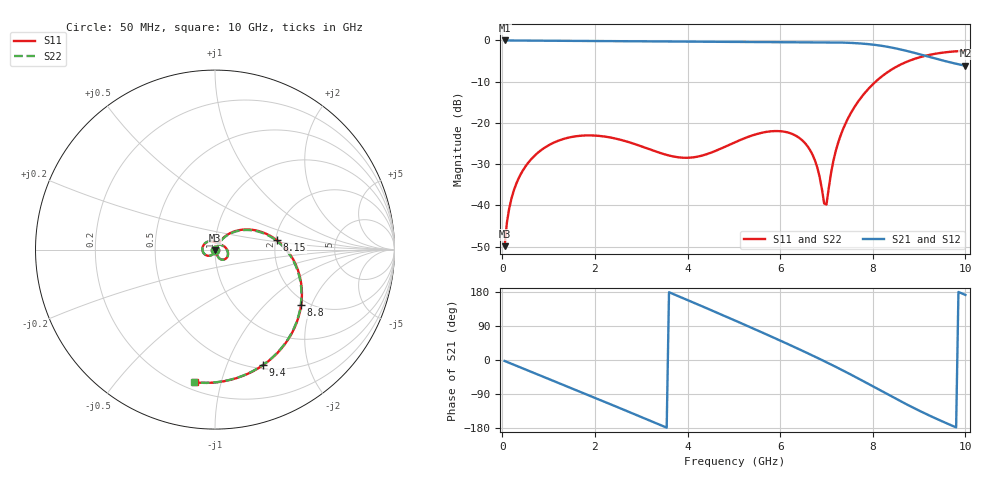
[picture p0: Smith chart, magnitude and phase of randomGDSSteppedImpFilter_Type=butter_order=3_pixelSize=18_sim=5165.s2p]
! freq	dB(S11)	phase(S11)	dB(S12)	phase(S12)
!  dB(S21)	phase(S21)	dB(S22)	phase(S22)
!S-par simulation data
#  GHz  S  DB  R 50
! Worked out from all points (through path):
!   200 points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, 50 MHz to 10 GHz, reference 50 ohm
!   highest |S21| = -0.01 dB at 50 MHz (marker M1); lowest = -6.1 dB at 10 GHz (marker M2)
!   group delay of S21, straight-line fit = 153 ps
!   lowest |S11| = -49.9 dB at 50 MHz (marker M3), VSWR 1.01, Z = 50 - j0.32 ohm
!   |S11| at or under -10 dB: start of sweep to 8.061 GHz
!   |S22| runs from -49.9 to -2.5 dB; largest |S21 - S12| = 0
!   S11 on the Smith chart (normalised r, x): 50 MHz: 1.00, -0.01; 8.15 GHz: 2.04, +0.24; 8.8 GHz: 1.85, -1.69; 9.4 GHz: 0.54, -1.36; 10 GHz: 0.25, -0.83
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0.05  -49.88 -86.3  -0.01 -2.5  -0.01 -2.5  -49.88 -86.3
0.1  -44.14 -91.7  -0.01 -5.1  -0.01 -5.1  -44.14 -91.7
0.2  -38.23 -98.6  -0.02 -10.1  -0.02 -10.1  -38.24 -98.7
0.5  -30.56 -115.2  -0.04 -25.0  -0.04 -25.0  -30.56 -115.5
1.15  -24.58 -148.5  -0.08 -57.4  -0.08 -57.4  -24.59 -149.1
1.75  -23.06 -178.8  -0.12 -87.4  -0.12 -87.4  -23.06 -179.8
2.5  -23.94 143.2  -0.16 -125.0  -0.16 -125.0  -23.93 141.1
3.4  -27.25 96.6  -0.22 -170.9  -0.22 -170.9  -27.21 92.1
4.15  -28.30 57.5  -0.27 150.4  -0.27 150.4  -28.23 51.7
5.05  -24.56 12.0  -0.34 102.9  -0.34 102.9  -24.54 8.6
5.85  -21.99 -28.8  -0.40 59.6  -0.40 59.6  -21.98 -30.4
6.35  -23.17 -53.9  -0.42 31.8  -0.42 31.8  -23.17 -54.7
6.7  -27.73 -67.6  -0.43 11.8  -0.43 11.8  -27.70 -67.6
7  -39.79 14.5  -0.45 -5.9  -0.45 -5.9  -39.10 12.0
7.15  -29.16 57.5  -0.48 -15.0  -0.48 -15.0  -29.09 55.2
7.35  -21.74 54.6  -0.52 -27.3  -0.52 -27.3  -21.73 53.1
7.8  -13.11 30.4  -0.79 -56.1  -0.79 -56.1  -13.10 29.5
8.15  -9.13 8.5  -1.24 -79.3  -1.24 -79.3  -9.13 7.7
8.35  -7.46 -4.3  -1.61 -92.5  -1.61 -92.5  -7.47 -5.0
8.8  -4.88 -32.6  -2.72 -121.4  -2.72 -121.4  -4.88 -33.2
9.4  -3.14 -67.3  -4.53 -156.5  -4.53 -156.5  -3.14 -67.7
10  -2.52 -98.6  -6.13 171.8  -6.13 171.8  -2.52 -98.9
